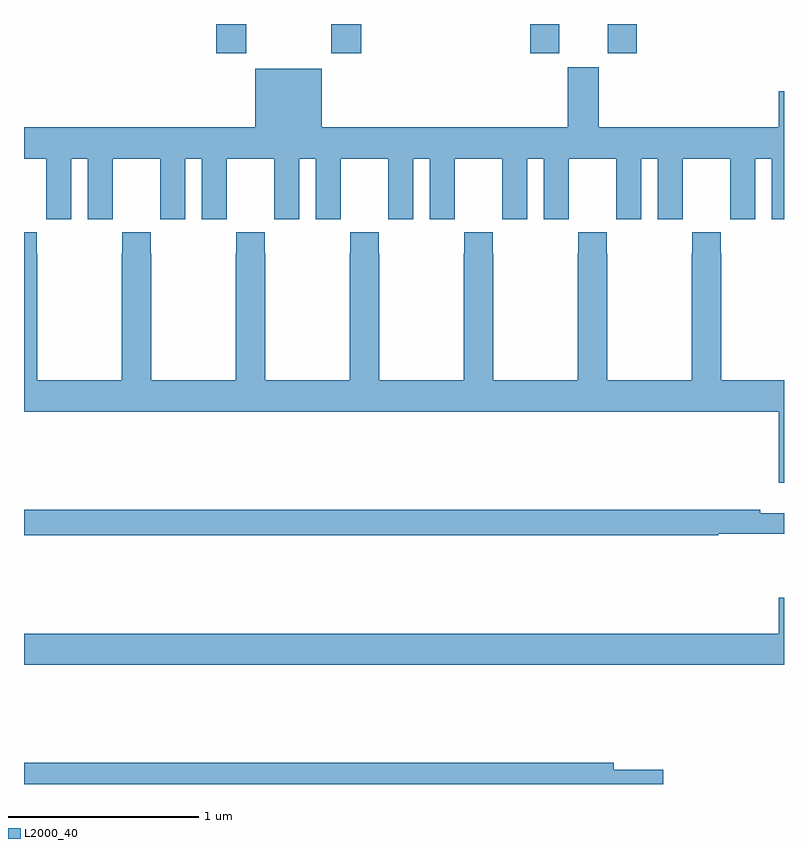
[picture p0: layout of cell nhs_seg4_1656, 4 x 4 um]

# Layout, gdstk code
import gdstk
lib = gdstk.Library(unit=1e-6, precision=1e-09)
def R(c, l, rs):  # rectangles x0, y0, x1, y1
    for r in rs: c.add(gdstk.rectangle(r[:2], r[2:], *l))
def P(c, l, *ps):  # polygons
    for p in ps: c.add(gdstk.Polygon(p, *l))
L2000_40 = (2000, 40)

nhs_seg4_1656 = lib.new_cell('nhs_seg4_1656')
R(nhs_seg4_1656, L2000_40, [(198.011,758.745,198.171,758.9), (198.616,758.745,198.776,758.9), (199.664,758.745,199.816,758.9), (200.072,758.745,200.225,758.9)])
P(nhs_seg4_1656, L2000_40, [(200.026,758.673),(199.862,758.673),(199.862,758.356),(198.568,758.356),(198.568,758.665),(198.218,758.665),(198.218,758.356),(197,758.356),(197,758.192),(197.117,758.192),(197.117,757.984),(197.118,757.984),(197.118,757.872),(197.248,757.872),(197.248,758.192),(197.336,758.192),(197.336,757.872),(197.466,757.872),(197.466,757.984),(197.467,757.984),(197.467,758.192),(197.717,758.192),(197.717,757.984),(197.718,757.984),(197.718,757.872),(197.848,757.872),(197.848,758.192),(197.936,758.192),(197.936,757.872),(198.066,757.872),(198.066,757.984),(198.067,757.984),(198.067,758.192),(198.317,758.192),(198.317,757.984),(198.318,757.984),(198.318,757.872),(198.448,757.872),(198.448,758.192),(198.536,758.192),(198.536,757.872),(198.666,757.872),(198.666,757.984),(198.667,757.984),(198.667,758.192),(198.917,758.192),(198.917,757.984),(198.918,757.984),(198.918,757.872),(199.048,757.872),(199.048,758.192),(199.136,758.192),(199.136,757.872),(199.266,757.872),(199.266,757.984),(199.267,757.984),(199.267,758.192),(199.517,758.192),(199.517,757.984),(199.518,757.984),(199.518,757.872),(199.648,757.872),(199.648,758.192),(199.736,758.192),(199.736,757.872),(199.866,757.872),(199.866,757.984),(199.867,757.984),(199.867,758.192),(200.117,758.192),(200.117,757.984),(200.118,757.984),(200.118,757.872),(200.248,757.872),(200.248,758.192),(200.336,758.192),(200.336,757.872),(200.466,757.872),(200.466,757.984),(200.467,757.984),(200.467,758.192),(200.717,758.192),(200.717,757.984),(200.718,757.984),(200.718,757.872),(200.848,757.872),(200.848,758.192),(200.936,758.192),(200.936,757.872),(201,757.872),(201,758.545),(200.972,758.545),(200.972,758.356),(200.026,758.356)],
  [(200.517,757.804),(200.517,757.691),(200.515,757.691),(200.515,757.024),(200.07,757.024),(200.07,757.691),(200.067,757.691),(200.067,757.804),(199.917,757.804),(199.917,757.691),(199.915,757.691),(199.915,757.024),(199.47,757.024),(199.47,757.691),(199.467,757.691),(199.467,757.804),(199.317,757.804),(199.317,757.691),(199.315,757.691),(199.315,757.024),(198.87,757.024),(198.87,757.691),(198.867,757.691),(198.867,757.804),(198.717,757.804),(198.717,757.691),(198.715,757.691),(198.715,757.024),(198.27,757.024),(198.27,757.691),(198.267,757.691),(198.267,757.804),(198.117,757.804),(198.117,757.691),(198.115,757.691),(198.115,757.024),(197.67,757.024),(197.67,757.691),(197.667,757.691),(197.667,757.804),(197.517,757.804),(197.517,757.691),(197.515,757.691),(197.515,757.024),(197.07,757.024),(197.07,757.691),(197.067,757.691),(197.067,757.804),(197,757.804),(197,756.86),(200.972,756.86),(200.972,756.486),(201,756.486),(201,757.024),(200.67,757.024),(200.67,757.691),(200.667,757.691),(200.667,757.804)],
  [(200.655,756.216),(201,756.216),(201,756.325),(200.876,756.325),(200.876,756.344),(197,756.344),(197,756.208),(200.655,756.208)],
  [(201,755.881),(200.972,755.881),(200.972,755.692),(197,755.692),(197,755.528),(201,755.528)],
  [(200.365,754.976),(200.104,754.976),(200.104,755.012),(197,755.012),(197,754.9),(200.365,754.9)])

lib.write_gds('nhs_seg4_1656.gds')
